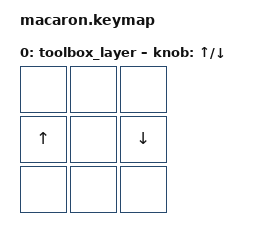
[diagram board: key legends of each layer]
#include <behaviors.dtsi>
#include <dt-bindings/zmk/keys.h>
#include <dt-bindings/zmk/bt.h>

/{
    keymap {
        compatible = "zmk,keymap";

        toolbox_layer {
            bindings = <
                &none           &none           &none
                &kp UP_ARROW    &none           &kp DOWN_ARROW
                &none           &none           &none
            >;

            sensor-bindings = <&inc_dec_kp UP_ARROW DOWN_ARROW>;
        };
    };
};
